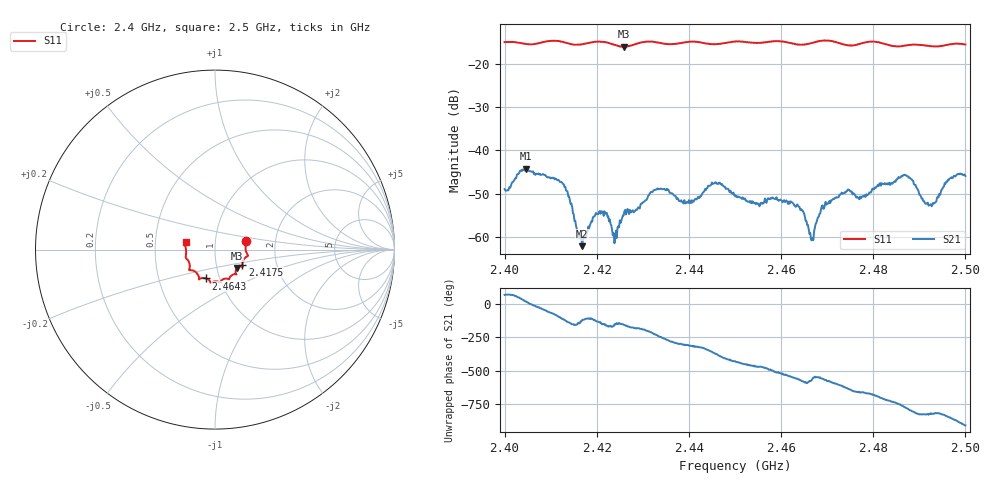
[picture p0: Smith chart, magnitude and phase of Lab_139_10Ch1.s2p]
# Hz S RI R 50
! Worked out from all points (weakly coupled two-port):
!   601 points, 2.4 GHz to 2.5 GHz, reference 50 ohm
!   highest |S21| = -44.22 dB at 2.4047 GHz (marker M1); lowest = -62.2 dB at 2.4168 GHz (marker M2)
!   lowest |S11| = -15.9 dB at 2.4258 GHz (marker M3), VSWR 1.38, Z = 62.3 - j13.2 ohm
!   |S11| at or under -10 dB: start of sweep to end of sweep
!   S12 and S22 are empty: the file has one direction only
!   S11 on the Smith chart (normalised r, x): 2.4 GHz: 1.41, +0.14; 2.4175 GHz: 1.33, -0.23; 2.4643 GHz: 0.86, -0.29; 2.5 GHz: 0.72, +0.06
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2.4e9  0.1734 0.0489  0.00121 0.00334  0 0  0 0
2.404667e9  0.1706 0.0186  0.00581 0.00201  0 0  0 0
2.412667e9  0.1769 -0.0391  -0.00155 -0.00378  0 0  0 0
2.416667e9  0.1527 -0.0742  -0.000632 -0.000773  0 0  0 0
2.416833e9  0.1526 -0.0761  -0.000373 -0.000679  0 0  0 0
2.4175e9  0.1517 -0.0838  -0.000346 -0.000945  0 0  0 0
2.420167e9  0.1544 -0.0979  -0.0012 -0.0014  0 0  0 0
2.422167e9  0.1515 -0.0951  -0.00179 -0.000607  0 0  0 0
2.423833e9  0.139 -0.0941  -0.000733 -0.000406  0 0  0 0
2.425833e9  0.1218 -0.1031  -0.00158 -0.00077  0 0  0 0
2.433333e9  0.1136 -0.137  -0.00183 0.00302  0 0  0 0
2.439333e9  0.0797 -0.1615  0.00151 0.00192  0 0  0 0
2.4455e9  0.0515 -0.1625  0.00413 -0.000474  0 0  0 0
2.45e9  0.0289 -0.1812  0.00113 -0.00282  0 0  0 0
2.464333e9  -0.0497 -0.1608  -0.00175 0.00114  0 0  0 0
2.466667e9  -0.0763 -0.159  -0.000788 0.00044  0 0  0 0
2.47e9  -0.0886 -0.1663  -0.00186 0.00152  0 0  0 0
2.483333e9  -0.1405 -0.0898  0.00412 -0.000334  0 0  0 0
2.487333e9  -0.1574 -0.0531  0.00224 -0.00452  0 0  0 0
2.4925e9  -0.1607 -0.02  -0.000421 -0.00234  0 0  0 0
2.496333e9  -0.1675 0.0229  -0.00272 -0.00357  0 0  0 0
2.5e9  -0.1641 0.0425  -0.00495 0.00102  0 0  0 0
